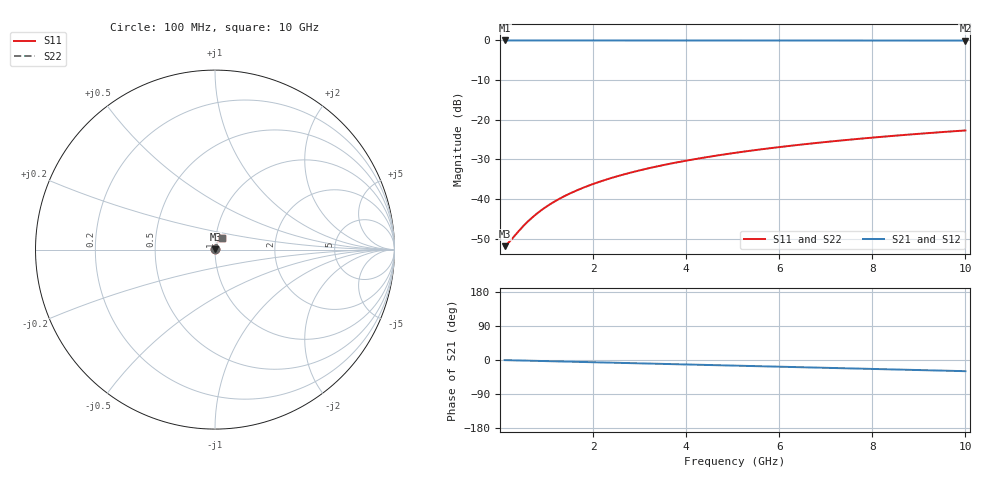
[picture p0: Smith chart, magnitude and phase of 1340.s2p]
# Hz S RI R 50.00
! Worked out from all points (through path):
!   100 points, 100 MHz to 10 GHz, reference 50 ohm
!   highest |S21| = -0.02 dB at 100 MHz (marker M1); lowest = 0.0 dB at 10 GHz (marker M2)
!   group delay of S21, straight-line fit = 8.2 ps
!   lowest |S11| = -51.9 dB at 100 MHz (marker M3), VSWR 1.01, Z = 50.2 + j0.0756 ohm
!   |S11| at or under -10 dB: start of sweep to end of sweep
!   |S22| runs from -51.9 to -22.7 dB; largest |S21 - S12| = 0
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1e8  0.00243 0.000752  0.9976 -0.00511  0.9976 -0.00511  0.00243 0.000752
2e8  0.00246 0.0015  0.9975 -0.0102  0.9975 -0.0102  0.00246 0.0015
4e8  0.00252 0.00301  0.9973 -0.0205  0.9973 -0.0205  0.00252 0.00301
5e8  0.00256 0.00376  0.9972 -0.0256  0.9972 -0.0256  0.00256 0.00376
6e8  0.00261 0.00451  0.997 -0.0307  0.997 -0.0307  0.00261 0.00451
7e8  0.00267 0.00526  0.9968 -0.0358  0.9968 -0.0358  0.00267 0.00526
9e8  0.0028 0.00676  0.9964 -0.046  0.9964 -0.046  0.0028 0.00676
1.1e9  0.00296 0.00825  0.9958 -0.0562  0.9958 -0.0562  0.00296 0.00825
1.3e9  0.00315 0.00974  0.9952 -0.0664  0.9952 -0.0664  0.00315 0.00974
1.5e9  0.00337 0.0112  0.9944 -0.0766  0.9944 -0.0766  0.00337 0.0112
1.8e9  0.00376 0.0134  0.9931 -0.0919  0.9931 -0.0919  0.00376 0.0134
2.1e9  0.00421 0.0157  0.9915 -0.1072  0.9915 -0.1072  0.00421 0.0157
2.5e9  0.00492 0.0186  0.989 -0.1275  0.989 -0.1275  0.00492 0.0186
2.9e9  0.00575 0.0214  0.9861 -0.1478  0.9861 -0.1478  0.00575 0.0214
3.4e9  0.00696 0.025  0.9819 -0.1731  0.9819 -0.1731  0.00696 0.025
4.2e9  0.00926 0.0305  0.9737 -0.2133  0.9737 -0.2133  0.00926 0.0305
5.1e9  0.0124 0.0365  0.9625 -0.2581  0.9625 -0.2581  0.0124 0.0365
5.9e9  0.0156 0.0416  0.9508 -0.2974  0.9508 -0.2974  0.0156 0.0416
6.7e9  0.0193 0.0463  0.9374 -0.3363  0.9374 -0.3363  0.0193 0.0463
7.5e9  0.0233 0.0508  0.9224 -0.3746  0.9224 -0.3746  0.0233 0.0508
8.4e9  0.0283 0.0554  0.9037 -0.4169  0.9037 -0.4169  0.0283 0.0554
1e10  0.0382 0.0625  0.8654 -0.4899  0.8654 -0.4899  0.0382 0.0625
